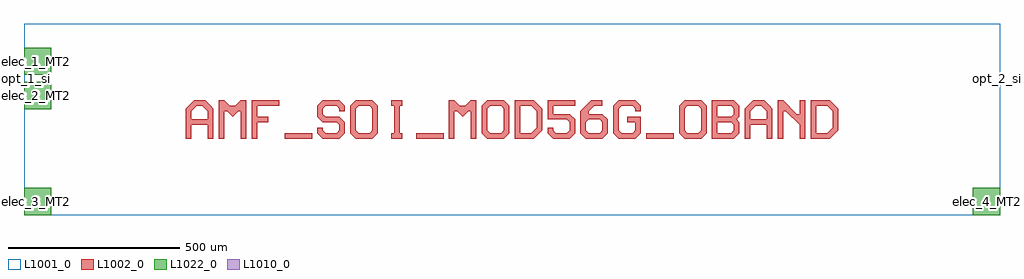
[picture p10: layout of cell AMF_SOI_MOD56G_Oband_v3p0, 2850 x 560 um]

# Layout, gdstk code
import gdstk
lib = gdstk.Library(unit=1e-6, precision=1e-09)
def R(c, l, rs):  # rectangles x0, y0, x1, y1
    for r in rs: c.add(gdstk.rectangle(r[:2], r[2:], *l))
def P(c, l, *ps):  # polygons
    for p in ps: c.add(gdstk.Polygon(p, *l))
L1001_0 = (1001, 0)
L1002_0 = (1002, 0)
L1010_0 = (1010, 0)
L1022_0 = (1022, 0)

amf_soi_mod56g_oband_v3p = lib.new_cell('AMF_SOI_MOD56G_Oband_v3p0')
R(amf_soi_mod56g_oband_v3p, L1001_0, [(0,-400,2850,160)])
R(amf_soi_mod56g_oband_v3p, L1002_0, [(761,-176,841,-160), (1145,-176,1225,-160), (1817,-176,1897,-160)])
P(amf_soi_mod56g_oband_v3p, L1002_0, [(473,-176),(473,-88),(497,-64),(529,-64),(545,-80),(505,-80),(489,-96),(489,-120),(537,-120),(537,-96),(521,-80),(545,-80),(553,-88),(553,-176),(537,-176),(537,-136),(489,-136),(489,-176)],
  [(569,-176),(569,-64),(585,-64),(601,-80),(617,-80),(633,-64),(649,-64),(649,-176),(633,-176),(633,-96),(625,-96),(609,-112),(593,-96),(585,-96),(585,-176)],
  [(665,-176),(665,-64),(745,-64),(745,-80),(681,-80),(681,-112),(713,-112),(713,-128),(681,-128),(681,-176)],
  [(873,-176),(857,-160),(857,-144),(873,-144),(873,-152),(881,-160),(913,-160),(921,-152),(921,-136),(913,-128),(873,-128),(857,-112),(857,-80),(873,-64),(921,-64),(937,-80),(937,-96),(921,-96),(921,-88),(913,-80),(881,-80),(873,-88),(873,-104),(881,-112),(921,-112),(937,-128),(937,-160),(921,-176)],
  [(969,-176),(953,-160),(953,-80),(969,-64),(1017,-64),(1033,-80),(1033,-120),(1017,-120),(1017,-88),(1009,-80),(977,-80),(969,-88),(969,-152),(977,-160),(1009,-160),(1017,-152),(1017,-120),(1033,-120),(1033,-160),(1017,-176)],
  [(1073,-176),(1073,-160),(1081,-160),(1081,-80),(1073,-80),(1073,-64),(1105,-64),(1105,-80),(1097,-80),(1097,-160),(1105,-160),(1105,-176)],
  [(1241,-176),(1241,-64),(1257,-64),(1273,-80),(1289,-80),(1305,-64),(1321,-64),(1321,-176),(1305,-176),(1305,-96),(1297,-96),(1281,-112),(1265,-96),(1257,-96),(1257,-176)],
  [(1353,-176),(1337,-160),(1337,-80),(1353,-64),(1401,-64),(1417,-80),(1417,-120),(1401,-120),(1401,-88),(1393,-80),(1361,-80),(1353,-88),(1353,-152),(1361,-160),(1393,-160),(1401,-152),(1401,-120),(1417,-120),(1417,-160),(1401,-176)],
  [(1433,-176),(1433,-64),(1489,-64),(1505,-80),(1449,-80),(1449,-160),(1481,-160),(1497,-144),(1497,-96),(1481,-80),(1505,-80),(1513,-88),(1513,-152),(1489,-176)],
  [(1545,-176),(1529,-160),(1529,-144),(1545,-144),(1545,-152),(1553,-160),(1585,-160),(1593,-152),(1593,-128),(1585,-120),(1529,-120),(1529,-64),(1609,-64),(1609,-80),(1545,-80),(1545,-104),(1593,-104),(1609,-120),(1609,-160),(1593,-176)],
  [(1641,-176),(1625,-160),(1625,-96),(1657,-64),(1689,-64),(1689,-80),(1665,-80),(1649,-96),(1649,-104),(1689,-104),(1705,-120),(1649,-120),(1641,-128),(1641,-152),(1649,-160),(1681,-160),(1689,-152),(1689,-128),(1681,-120),(1705,-120),(1705,-160),(1689,-176)],
  [(1737,-176),(1721,-160),(1721,-80),(1737,-64),(1785,-64),(1801,-80),(1801,-96),(1785,-96),(1785,-88),(1777,-80),(1745,-80),(1737,-88),(1737,-152),(1745,-160),(1777,-160),(1785,-152),(1785,-128),(1761,-128),(1761,-112),(1801,-112),(1801,-160),(1785,-176)],
  [(1929,-176),(1913,-160),(1913,-80),(1929,-64),(1977,-64),(1993,-80),(1993,-120),(1977,-120),(1977,-88),(1969,-80),(1937,-80),(1929,-88),(1929,-152),(1937,-160),(1969,-160),(1977,-152),(1977,-120),(1993,-120),(1993,-160),(1977,-176)],
  [(2009,-176),(2009,-64),(2073,-64),(2089,-80),(2025,-80),(2025,-112),(2065,-112),(2073,-104),(2073,-88),(2065,-80),(2089,-80),(2089,-112),(2081,-120),(2089,-128),(2025,-128),(2025,-160),(2065,-160),(2073,-152),(2073,-136),(2065,-128),(2089,-128),(2089,-160),(2073,-176)],
  [(2105,-176),(2105,-88),(2129,-64),(2161,-64),(2177,-80),(2137,-80),(2121,-96),(2121,-120),(2169,-120),(2169,-96),(2153,-80),(2177,-80),(2185,-88),(2185,-176),(2169,-176),(2169,-136),(2121,-136),(2121,-176)],
  [(2201,-176),(2201,-64),(2217,-64),(2257,-104),(2265,-104),(2265,-64),(2281,-64),(2281,-176),(2265,-176),(2265,-136),(2225,-96),(2217,-96),(2217,-176)],
  [(2297,-176),(2297,-64),(2353,-64),(2369,-80),(2313,-80),(2313,-160),(2345,-160),(2361,-144),(2361,-96),(2345,-80),(2369,-80),(2377,-88),(2377,-152),(2353,-176)])
R(amf_soi_mod56g_oband_v3p, L1010_0, [(0,-0.205,0.41,0.205), (2849.59,-0.205,2850,0.205)])
R(amf_soi_mod56g_oband_v3p, L1022_0, [(0,-400,80,-320), (2770,-400,2850,-320), (0,-90,80,-10), (0,10,80,90)])
amf_soi_mod56g_oband_v3p.add(gdstk.Label('opt_1_si', (0,0), layer=1010, texttype=0))
amf_soi_mod56g_oband_v3p.add(gdstk.Label('opt_2_si', (2850,0), layer=1010, texttype=0))
amf_soi_mod56g_oband_v3p.add(gdstk.Label('elec_1_MT2', (0,50), layer=1022, texttype=0))
amf_soi_mod56g_oband_v3p.add(gdstk.Label('elec_2_MT2', (0,-50), layer=1022, texttype=0))
amf_soi_mod56g_oband_v3p.add(gdstk.Label('elec_3_MT2', (0,-360), layer=1022, texttype=0))
amf_soi_mod56g_oband_v3p.add(gdstk.Label('elec_4_MT2', (2850,-360), layer=1022, texttype=0))

lib.write_gds('AMF_SOI_MOD56G_Oband_v3p0.gds')
